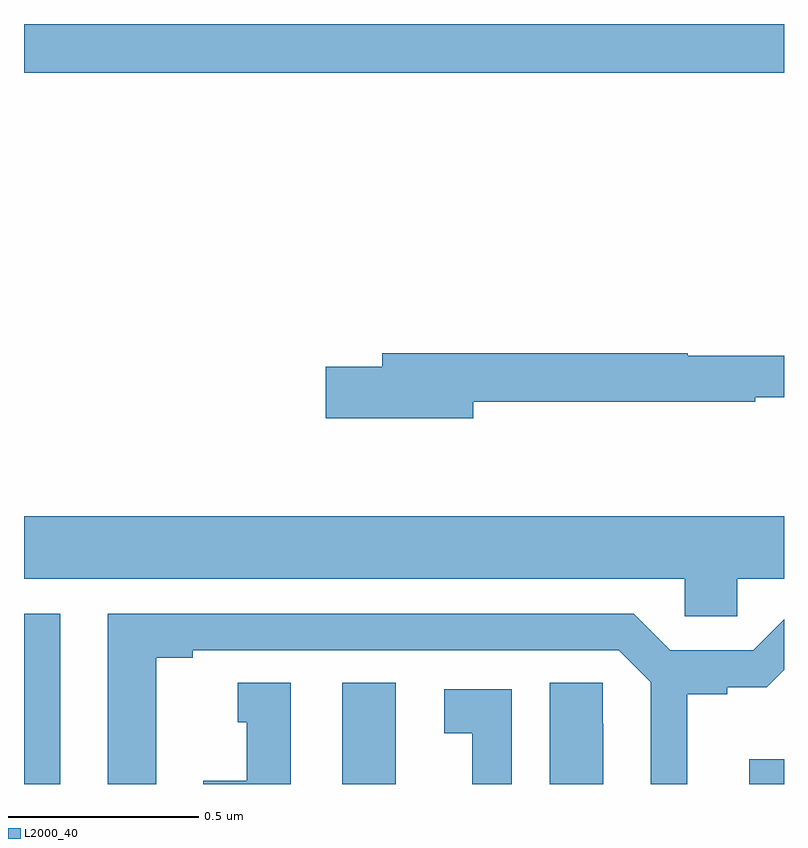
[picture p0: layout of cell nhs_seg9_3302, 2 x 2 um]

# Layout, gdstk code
import gdstk
lib = gdstk.Library(unit=1e-6, precision=1e-09)
def R(c, l, rs):  # rectangles x0, y0, x1, y1
    for r in rs: c.add(gdstk.rectangle(r[:2], r[2:], *l))
def P(c, l, *ps):  # polygons
    for p in ps: c.add(gdstk.Polygon(p, *l))
L2000_40 = (2000, 40)

nhs_seg9_3302 = lib.new_cell('nhs_seg9_3302')
R(nhs_seg9_3302, L2000_40, [(151,1242.5,151.096,1242.948), (151.838,1242.5,151.978,1242.766), (152.909,1242.5,153,1242.565), (151,1244.372,153,1244.5)])
P(nhs_seg9_3302, L2000_40, [(152.182,1243.506),(152.924,1243.506),(152.924,1243.518),(153,1243.518),(153,1243.627),(152.747,1243.627),(152.747,1243.634),(151.943,1243.634),(151.943,1243.598),(151.794,1243.598),(151.794,1243.463),(152.182,1243.463)],
  [(151,1243.04),(152.739,1243.04),(152.739,1242.942),(152.877,1242.942),(152.877,1243.04),(153,1243.04),(153,1243.204),(151,1243.204)],
  [(151.348,1242.832),(151.444,1242.832),(151.444,1242.852),(152.565,1242.852),(152.649,1242.768),(152.649,1242.5),(152.746,1242.5),(152.746,1242.736),(152.85,1242.736),(152.85,1242.755),(152.954,1242.755),(153,1242.801),(153,1242.933),(152.919,1242.852),(152.701,1242.852),(152.605,1242.948),(151.22,1242.948),(151.22,1242.5),(151.348,1242.5)],
  [(152.524,1242.659),(152.523,1242.659),(152.523,1242.767),(152.384,1242.767),(152.384,1242.5),(152.524,1242.5)],
  [(151.702,1242.766),(151.562,1242.766),(151.562,1242.663),(151.586,1242.663),(151.586,1242.508),(151.472,1242.508),(151.472,1242.5),(151.702,1242.5)],
  [(152.284,1242.75),(152.106,1242.75),(152.106,1242.634),(152.18,1242.634),(152.18,1242.5),(152.284,1242.5)])

lib.write_gds('nhs_seg9_3302.gds')
